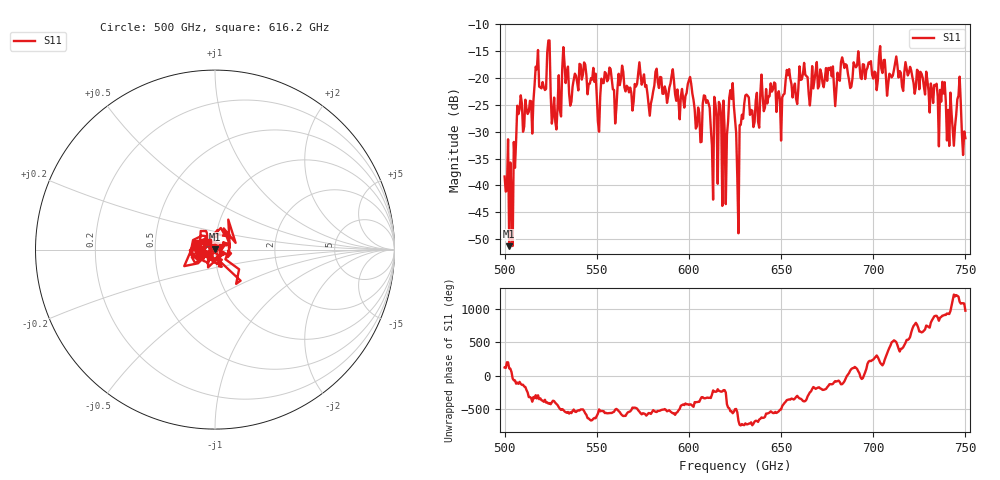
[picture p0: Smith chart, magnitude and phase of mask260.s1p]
!Created with skrf (http://scikit-rf.org).
# GHz S MA R 50.0
!freq magS11 angS11
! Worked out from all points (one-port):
!   401 points, 500 GHz to 750 GHz, reference 50 ohm
!   lowest |S11| = -51.3 dB at 502.5 GHz (marker M1), VSWR 1.01, Z = 49.9 + j0.257 ohm
!   |S11| at or under -10 dB: start of sweep to end of sweep
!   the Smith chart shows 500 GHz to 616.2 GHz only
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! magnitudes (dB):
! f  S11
! 500 GHz  -38.3
! 502.5 GHz  -51.3
! 503.8 GHz  -42.2
! 508.1 GHz  -25.8
! 523.1 GHz  -15.2
! 526.9 GHz  -23.6
! 531.2 GHz  -18.3
! 542.5 GHz  -19.3
! 551.2 GHz  -30.0
! 562.5 GHz  -21.3
! 593.8 GHz  -22.1
! 600.6 GHz  -19.8
! 605.6 GHz  -26.5
! 609.4 GHz  -24.6
! 611.9 GHz  -29.3
! 617.5 GHz  -27.1
! 619.4 GHz  -29.7
! 622.5 GHz  -22.2
! 625 GHz  -27.6
! 626.9 GHz  -48.9
! 631.2 GHz  -23.1
! 656.2 GHz  -23.6
! 687.5 GHz  -21.9
! 718.8 GHz  -19.5
! 737.5 GHz  -20.7
! 742.5 GHz  -26.6
! 746.2 GHz  -23.3
! 750 GHz  -31.2
